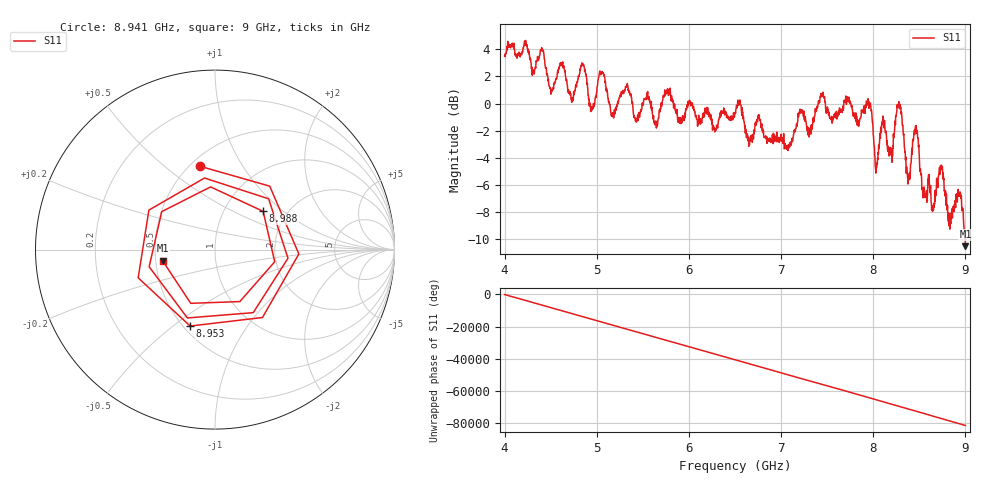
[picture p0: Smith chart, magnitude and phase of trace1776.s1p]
! Created with skrf 1.8.0 (http://scikit-rf.org).
# Hz S RI R 50.0
!freq ReS11 ImS11
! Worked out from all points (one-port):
!   1601 points, 4 GHz to 9 GHz, reference 50 ohm
!   lowest |S11| = -10.5 dB at 9 GHz (marker M1), VSWR 1.85, Z = 27.2 - j3.7 ohm
!   |S11| at or under -10 dB: 8.998191 GHz to end of sweep
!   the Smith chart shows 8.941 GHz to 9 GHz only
!   S11 on the Smith chart (normalised r, x): 8.941 GHz: 0.56, +0.67; 8.953 GHz: 0.54, -0.58; 8.988 GHz: 1.52, +0.73; 9 GHz: 0.54, -0.07
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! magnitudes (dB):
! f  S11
! 4 GHz  3.5
! 4.406 GHz  4.0
! 4.506 GHz  1.0
! 4.625 GHz  2.9
! 4.722 GHz  0.3
! 4.844 GHz  2.9
! 4.944 GHz  -0.5
! 5.05 GHz  2.2
! 5.172 GHz  -0.7
! 5.25 GHz  0.6
! 5.875 GHz  -1.0
! 6.5 GHz  -0.7
! 7.125 GHz  -2.8
! 7.75 GHz  0.0
! 7.956 GHz  0.1
! 8.038 GHz  -4.7
! 8.106 GHz  -0.9
! 8.191 GHz  -3.5
! 8.284 GHz  -0.4
! 8.375 GHz  -5.6
! 8.462 GHz  -1.7
! 8.559 GHz  -6.7
! 8.734 GHz  -4.7
! 8.828 GHz  -8.4
! 8.941 GHz  -6.5
! 8.953 GHz  -7.0
! 8.988 GHz  -9.3
! 9 GHz  -10.5
